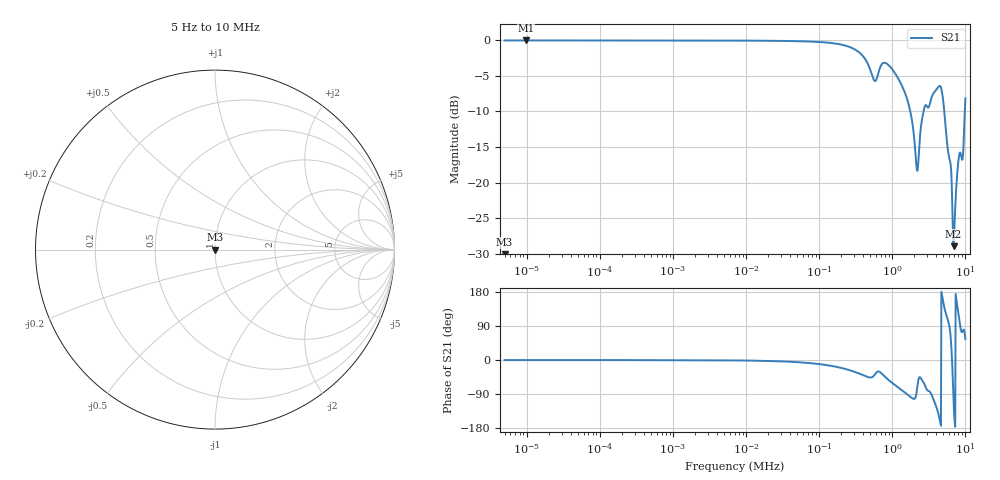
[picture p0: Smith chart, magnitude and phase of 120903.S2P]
!Agilent Technologies,E5061B,MY49204007,A.02.12
!Date: Fri Sep 12 10:09:17 2025
!Data & Calibration Information:
!Freq	S11:SOLT2(OFF)	S21:SOLT2(OFF)	S12:SOLT2(OFF)	S22:SOLT2(OFF)
# Hz S dB R 50
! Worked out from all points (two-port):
!   1041 points, 5 Hz to 10 MHz, reference 50 ohm
!   highest |S21| = -0.04 dB at 9.809 Hz (marker M1); lowest = -28.9 dB at 6.907 MHz (marker M2)
!   |S21| within 3 dB of the highest: start of sweep to 448.8 kHz
!   lowest |S11| = - dB at 5 Hz (marker M3), VSWR 1.00, Z = 50 + j0 ohm
!   |S11| at or under -10 dB: start of sweep to end of sweep
!   S12 and S22 are empty: the file has one direction only
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5  -200.00 0.0  -0.04 -0.2  -200.00 0.0  -200.00 0.0
9.809  -200.00 0.0  -0.04 -0.2  -200.00 0.0  -200.00 0.0
56.522  -200.00 0.0  -0.04 -0.2  -200.00 0.0  -200.00 0.0
632.897  -200.00 0.0  -0.04 -0.3  -200.00 0.0  -200.00 0.0
7154.49  -200.00 0.0  -0.06 -1.1  -200.00 0.0  -200.00 0.0
80111.67  -200.00 0.0  -0.21 -8.8  -200.00 0.0  -200.00 0.0
216671.6  -200.00 0.0  -0.71 -22.5  -200.00 0.0  -200.00 0.0
393727.3  -200.00 0.0  -2.18 -39.6  -200.00 0.0  -200.00 0.0
529484.8  -200.00 0.0  -4.92 -45.3  -200.00 0.0  -200.00 0.0
629755.5  -200.00 0.0  -4.99 -30.6  -200.00 0.0  -200.00 0.0
893075.1  -200.00 0.0  -3.51 -53.0  -200.00 0.0  -200.00 0.0
1601372  -200.00 0.0  -8.31 -90.7  -200.00 0.0  -200.00 0.0
2174378  -200.00 0.0  -18.23 -79.6  -200.00 0.0  -200.00 0.0
2633916  -200.00 0.0  -10.36 -56.8  -200.00 0.0  -200.00 0.0
3682284  -200.00 0.0  -7.41 -105.0  -200.00 0.0  -200.00 0.0
4568238  -200.00 0.0  -6.48 -167.4  -200.00 0.0  -200.00 0.0
5263815  -200.00 0.0  -11.19 130.8  -200.00 0.0  -200.00 0.0
6209332  -200.00 0.0  -17.08 72.1  -200.00 0.0  -200.00 0.0
6906588  -200.00 0.0  -28.89 -115.4  -200.00 0.0  -200.00 0.0
7837659  -200.00 0.0  -17.92 135.9  -200.00 0.0  -200.00 0.0
9159090  -200.00 0.0  -16.64 75.4  -200.00 0.0  -200.00 0.0
1e7  -200.00 0.0  -8.16 55.4  -200.00 0.0  -200.00 0.0
